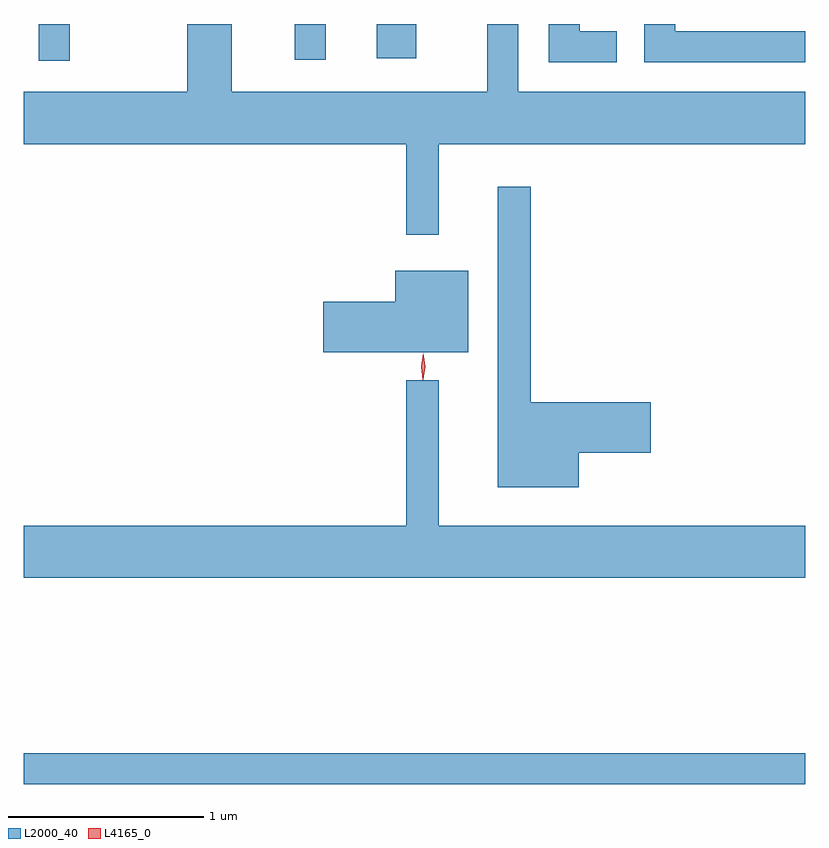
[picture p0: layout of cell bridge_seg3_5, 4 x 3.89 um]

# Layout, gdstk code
import gdstk
lib = gdstk.Library(unit=1e-6, precision=1e-09)
def R(c, l, rs):  # rectangles x0, y0, x1, y1
    for r in rs: c.add(gdstk.rectangle(r[:2], r[2:], *l))
def P(c, l, *ps):  # polygons
    for p in ps: c.add(gdstk.Polygon(p, *l))
L2000_40 = (2000, 40)
L4165_0 = (4165, 0)

bridge_seg3_5 = lib.new_cell('bridge_seg3_5')
R(bridge_seg3_5, L2000_40, [(1737.054,1136.061,1741.054,1136.219), (1737.131,1139.763,1737.289,1139.951), (1738.441,1139.768,1738.599,1139.951), (1738.861,1139.776,1739.064,1139.951)])
P(bridge_seg3_5, L2000_40, [(1739.179,1139.336),(1741.054,1139.336),(1741.054,1139.604),(1739.584,1139.604),(1739.584,1139.951),(1739.426,1139.951),(1739.426,1139.604),(1738.119,1139.604),(1738.119,1139.951),(1737.891,1139.951),(1737.891,1139.604),(1737.054,1139.604),(1737.054,1139.336),(1739.011,1139.336),(1739.011,1138.873),(1739.179,1138.873)],
  [(1741.054,1139.914),(1740.389,1139.914),(1740.389,1139.951),(1740.231,1139.951),(1740.231,1139.756),(1741.054,1139.756)],
  [(1740.088,1139.914),(1739.899,1139.914),(1739.899,1139.951),(1739.741,1139.951),(1739.741,1139.756),(1740.088,1139.756)],
  [(1739.894,1137.756),(1740.264,1137.756),(1740.264,1138.014),(1739.649,1138.014),(1739.649,1139.118),(1739.481,1139.118),(1739.481,1137.581),(1739.894,1137.581)],
  [(1739.329,1138.689),(1738.956,1138.689),(1738.956,1138.529),(1738.586,1138.529),(1738.586,1138.271),(1739.329,1138.271)],
  [(1741.054,1137.384),(1739.179,1137.384),(1739.179,1138.128),(1739.011,1138.128),(1739.011,1137.384),(1737.054,1137.384),(1737.054,1137.116),(1741.054,1137.116)])
P(bridge_seg3_5, L4165_0, [(1739.097,1138.13),(1739.088,1138.198),(1739.098,1138.265),(1739.099,1138.266),(1739.099,1138.265),(1739.108,1138.198),(1739.098,1138.13),(1739.098,1138.13)],
  [(1739.097,1138.133),(1739.088,1138.196),(1739.099,1138.259),(1739.099,1138.26),(1739.1,1138.259),(1739.108,1138.196),(1739.098,1138.133),(1739.098,1138.133)])

lib.write_gds('bridge_seg3_5.gds')
